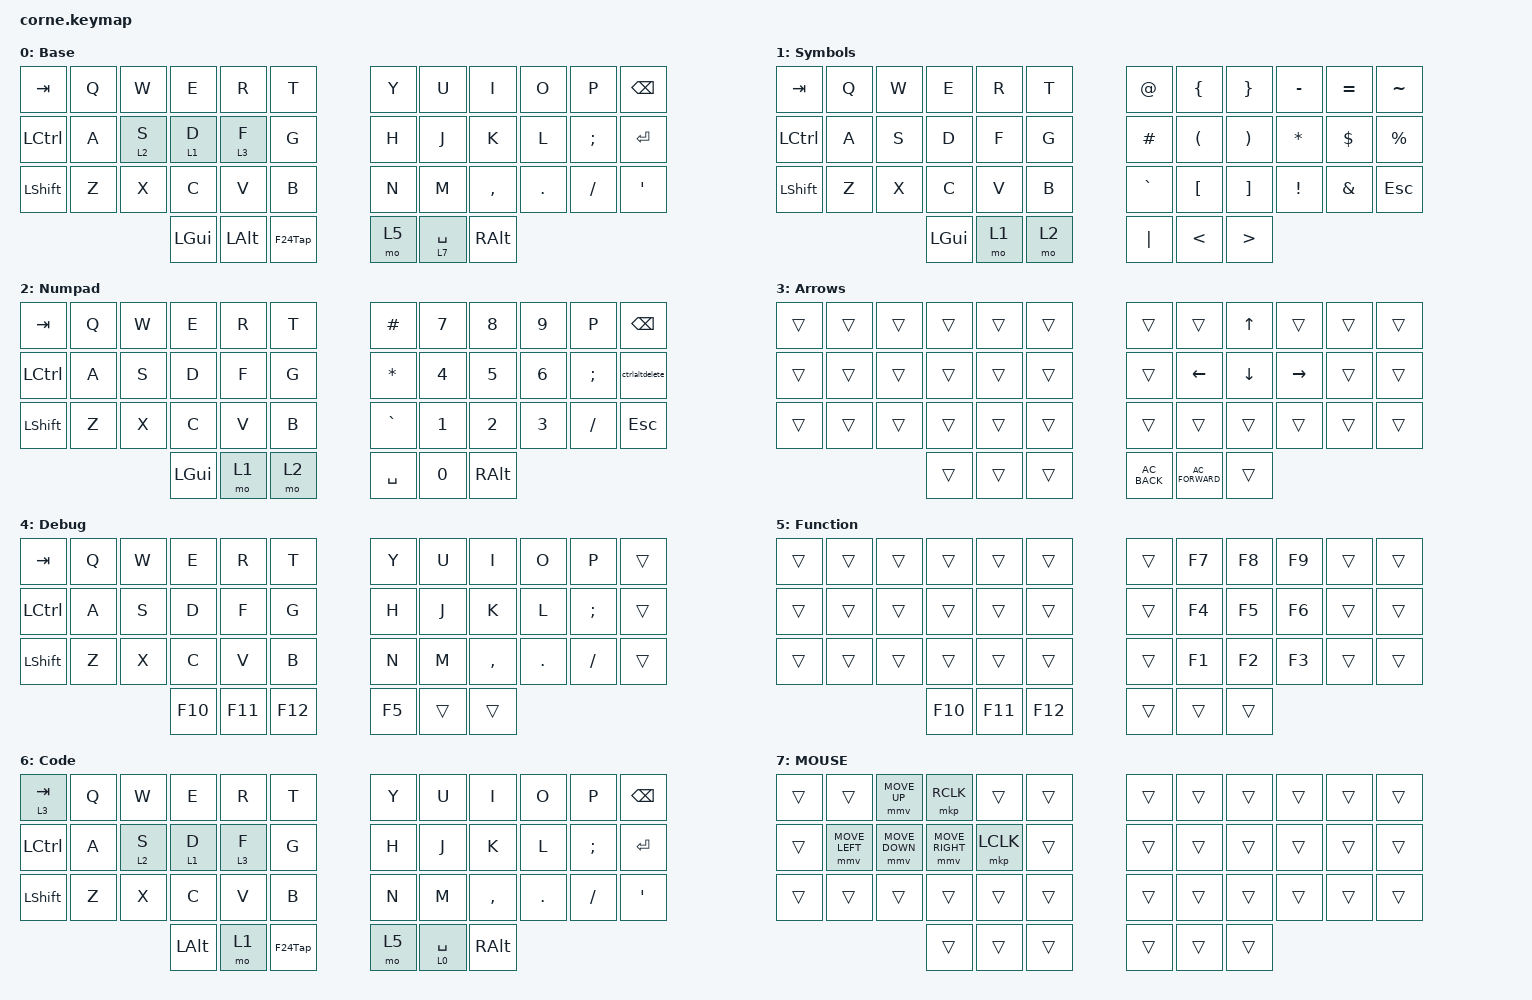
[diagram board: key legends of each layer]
/*
 * Copyright (c) 2020 The ZMK Contributors
 *
 * SPDX-License-Identifier: MIT
 */

#define DEFAULT 0
#define SYMBOLS 1
#define NUMPAD  2
#define ZMK_POINTING_DEFAULT_MOVE_VAL 1600  // default: 600

#include <behaviors.dtsi>
#include <dt-bindings/zmk/keys.h>
#include <dt-bindings/zmk/pointing.h>

/ {
    behaviors {
        F24Tap: F24Tap {
            compatible = "zmk,behavior-tap-dance";
            label = "F24TAP";
            #binding-cells = <0>;
            bindings = <&kp LCTRL>, <&kp F24>;
        };
    };

    macros {
        ctrlaltdelete: ctrlaltdelete {
            compatible = "zmk,behavior-macro";
            #binding-cells = <0>;
            bindings =
                <&macro_press>,
                <&kp LCTRL &kp LEFT_ALT>,
                <&macro_tap>,
                <&kp DEL>,
                <&macro_release>,
                <&kp LCTRL &kp LEFT_ALT>;

            label = "CTRLALTDELETE";
        };
    };

    combos {
        compatible = "zmk,combos";

        debug {
            bindings = <&to 4>;
            key-positions = <13 14 15 16>;
        };

        base {
            bindings = <&to 0>;
            key-positions = <19 20 21 22>;
        };

        code {
            bindings = <&to 6>;
            key-positions = <3 2 4 1>;
        };
    };

    keymap {
        compatible = "zmk,keymap";

        Base {
            display-name = "Base";
            bindings = <
&kp TAB    &kp Q  &kp W    &kp E     &kp R         &kp T      &kp Y  &kp U        &kp I      &kp O    &kp P     &kp BSPC
&kp LCTRL  &kp A  &lt 2 S  &lt 1 D   &lt 3 F       &kp G      &kp H  &kp J        &kp K      &kp L    &kp SEMI  &kp RET
&kp LSHFT  &kp Z  &kp X    &kp C     &kp V         &kp B      &kp N  &kp M        &kp COMMA  &kp DOT  &kp FSLH  &kp APOS
                           &kp LGUI  &kp LEFT_ALT  &F24Tap    &mo 5  &lt 7 SPACE  &kp RALT
            >;
        };

        Symbols {
            display-name = "Symbols";
            bindings = <
&kp TAB    &kp Q  &kp W  &kp E     &kp R  &kp T    &kp AT     &kp LBRC       &kp RBRC          &kp MINUS  &kp EQUAL      &kp TILDE
&kp LCTRL  &kp A  &kp S  &kp D     &kp F  &kp G    &kp HASH   &kp LPAR       &kp RPAR          &kp STAR   &kp DOLLAR     &kp PERCENT
&kp LSHFT  &kp Z  &kp X  &kp C     &kp V  &kp B    &kp GRAVE  &kp LBKT       &kp RBKT          &kp EXCL   &kp AMPERSAND  &kp ESC
                         &kp LGUI  &mo 1  &mo 2    &kp PIPE   &kp LESS_THAN  &kp GREATER_THAN
            >;
        };

        Numpad {
            display-name = "Numpad";
            bindings = <
&kp TAB    &kp Q  &kp W  &kp E     &kp R  &kp T    &kp HASH   &kp N7  &kp N8    &kp N9  &kp P     &kp BSPC
&kp LCTRL  &kp A  &kp S  &kp D     &kp F  &kp G    &kp STAR   &kp N4  &kp N5    &kp N6  &kp SEMI  &ctrlaltdelete
&kp LSHFT  &kp Z  &kp X  &kp C     &kp V  &kp B    &kp GRAVE  &kp N1  &kp N2    &kp N3  &kp FSLH  &kp ESC
                         &kp LGUI  &mo 1  &mo 2    &kp SPACE  &kp N0  &kp RALT
            >;
        };

        Arrow {
            display-name = "Arrows";
            bindings = <
&trans  &trans  &trans  &trans  &trans  &trans    &trans         &trans            &kp UP    &trans           &trans  &trans
&trans  &trans  &trans  &trans  &trans  &trans    &trans         &kp LEFT          &kp DOWN  &kp RIGHT_ARROW  &trans  &trans
&trans  &trans  &trans  &trans  &trans  &trans    &trans         &trans            &trans    &trans           &trans  &trans
                        &trans  &trans  &trans    &kp C_AC_BACK  &kp C_AC_FORWARD  &trans
            >;
        };

        Debug {
            display-name = "Debug";
            bindings = <
&kp TAB    &kp Q  &kp W  &kp E    &kp R    &kp T      &kp Y   &kp U   &kp I      &kp O    &kp P     &trans
&kp LCTRL  &kp A  &kp S  &kp D    &kp F    &kp G      &kp H   &kp J   &kp K      &kp L    &kp SEMI  &trans
&kp LSHFT  &kp Z  &kp X  &kp C    &kp V    &kp B      &kp N   &kp M   &kp COMMA  &kp DOT  &kp FSLH  &trans
                         &kp F10  &kp F11  &kp F12    &kp F5  &trans  &trans
            >;
        };

        Function {
            display-name = "Function";
            bindings = <
&trans  &trans  &trans  &trans   &trans   &trans     &trans  &kp F7  &kp F8  &kp F9  &trans  &trans
&trans  &trans  &trans  &trans   &trans   &trans     &trans  &kp F4  &kp F5  &kp F6  &trans  &trans
&trans  &trans  &trans  &trans   &trans   &trans     &trans  &kp F1  &kp F2  &kp F3  &trans  &trans
                        &kp F10  &kp F11  &kp F12    &trans  &trans  &trans
            >;
        };

        Code {
            display-name = "Code";
            bindings = <
&lt 3 TAB  &kp Q  &kp W    &kp E         &kp R    &kp T      &kp Y  &kp U        &kp I      &kp O    &kp P     &kp BSPC
&kp LCTRL  &kp A  &lt 2 S  &lt 1 D       &lt 3 F  &kp G      &kp H  &kp J        &kp K      &kp L    &kp SEMI  &kp RET
&kp LSHFT  &kp Z  &kp X    &kp C         &kp V    &kp B      &kp N  &kp M        &kp COMMA  &kp DOT  &kp FSLH  &kp APOS
                           &kp LEFT_ALT  &mo 1    &F24Tap    &mo 5  &lt 0 SPACE  &kp RALT
            >;
        };

        MOUSE {
            bindings = <
&trans  &trans    &mmv MOVE_UP       &mkp RCLK    &trans        &trans    &trans  &trans  &trans  &trans  &trans  &trans
&trans  &mmv MOVE_LEFT  &mmv MOVE_DOWN  &mmv MOVE_RIGHT  &mkp LCLK  &trans    &trans  &trans  &trans  &trans  &trans  &trans
&trans  &trans          &trans          &trans          &trans           &trans    &trans  &trans  &trans  &trans  &trans  &trans
                                        &trans          &trans           &trans    &trans  &trans  &trans
            >;
        };
    };
};
